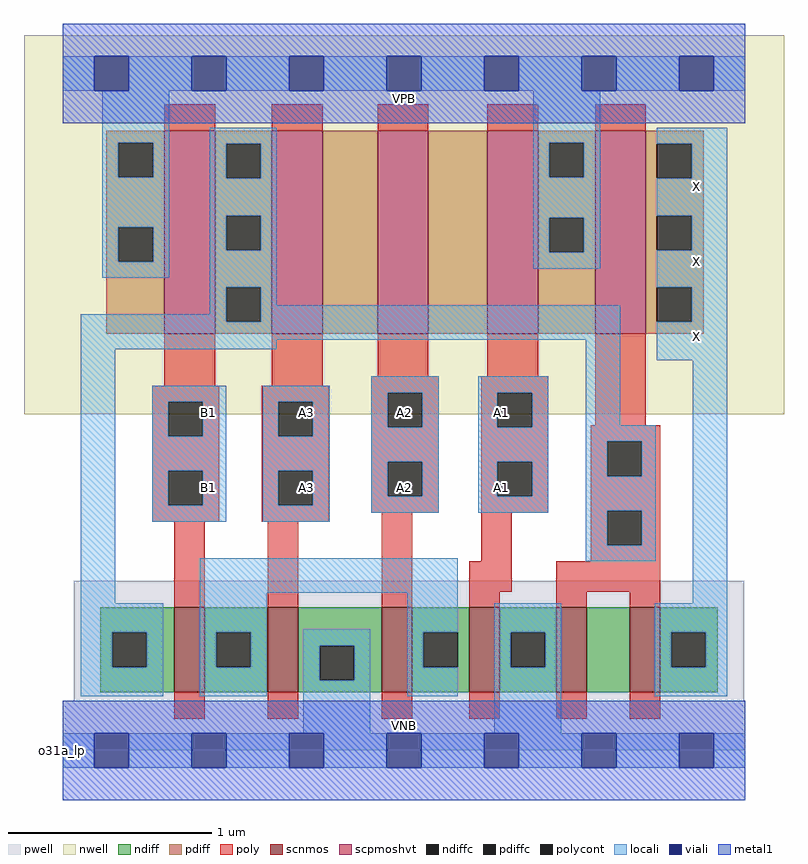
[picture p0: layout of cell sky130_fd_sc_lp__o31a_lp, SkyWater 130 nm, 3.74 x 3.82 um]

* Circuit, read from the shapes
.subckt sky130_fd_sc_lp__o31a_lp A1 A2 A3 B1 VGND VNB VPB VPWR X
XM1 n1 B1 n2 VNB sky130_fd_pr__nfet_01v8 w=0.42 l=0.15
XM2 VGND A3 n1 VNB sky130_fd_pr__nfet_01v8 w=0.42 l=0.15
XM3 n1 A2 VGND VNB sky130_fd_pr__nfet_01v8 w=0.42 l=0.15
XM4 VGND A1 n1 VNB sky130_fd_pr__nfet_01v8 w=0.42 l=0.15
XM5 n3 n2 VGND VNB sky130_fd_pr__nfet_01v8 w=0.42 l=0.15
XM6 X n2 n3 VNB sky130_fd_pr__nfet_01v8 w=0.42 l=0.15
XM7 n2 B1 VPWR VPB sky130_fd_pr__pfet_01v8_hvt w=1 l=0.25
XM8 n4 A3 n2 VPB sky130_fd_pr__pfet_01v8_hvt w=1 l=0.25
XM9 n5 A2 n4 VPB sky130_fd_pr__pfet_01v8_hvt w=1 l=0.25
XM10 VPWR A1 n5 VPB sky130_fd_pr__pfet_01v8_hvt w=1 l=0.25
XM11 X n2 VPWR VPB sky130_fd_pr__pfet_01v8_hvt w=1 l=0.25
.ends

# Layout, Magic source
magic
tech sky130A
magscale 1 2
<< nwell >>
rect -38 331 710 704
<< pwell >>
rect 11 49 671 167
rect 0 0 672 49
<< scnmos >>
rect 110 57 140 141
rect 202 57 232 141
rect 314 57 344 141
rect 400 57 430 141
rect 486 57 516 141
rect 558 57 588 141
<< scpmoshvt >>
rect 100 410 150 610
rect 206 410 256 610
rect 310 410 360 610
rect 418 410 468 610
rect 524 410 574 610
<< ndiff >>
rect 37 116 110 141
rect 37 82 49 116
rect 83 82 110 116
rect 37 57 110 82
rect 140 116 202 141
rect 140 82 151 116
rect 185 82 202 116
rect 140 57 202 82
rect 232 103 314 141
rect 232 69 253 103
rect 287 69 314 103
rect 232 57 314 69
rect 344 116 400 141
rect 344 82 355 116
rect 389 82 400 116
rect 344 57 400 82
rect 430 116 486 141
rect 430 82 441 116
rect 475 82 486 116
rect 430 57 486 82
rect 516 57 558 141
rect 588 116 645 141
rect 588 82 599 116
rect 633 82 645 116
rect 588 57 645 82
<< pdiff >>
rect 43 598 100 610
rect 43 564 55 598
rect 89 564 100 598
rect 43 515 100 564
rect 43 481 55 515
rect 89 481 100 515
rect 43 410 100 481
rect 150 597 206 610
rect 150 563 161 597
rect 195 563 206 597
rect 150 526 206 563
rect 150 492 161 526
rect 195 492 206 526
rect 150 456 206 492
rect 150 422 161 456
rect 195 422 206 456
rect 150 410 206 422
rect 256 410 310 610
rect 360 410 418 610
rect 468 598 524 610
rect 468 564 479 598
rect 513 564 524 598
rect 468 524 524 564
rect 468 490 479 524
rect 513 490 524 524
rect 468 410 524 490
rect 574 597 631 610
rect 574 563 585 597
rect 619 563 631 597
rect 574 526 631 563
rect 574 492 585 526
rect 619 492 631 526
rect 574 456 631 492
rect 574 422 585 456
rect 619 422 631 456
rect 574 410 631 422
<< ndiffc >>
rect 49 82 83 116
rect 151 82 185 116
rect 253 69 287 103
rect 355 82 389 116
rect 441 82 475 116
rect 599 82 633 116
<< pdiffc >>
rect 55 564 89 598
rect 55 481 89 515
rect 161 563 195 597
rect 161 492 195 526
rect 161 422 195 456
rect 479 564 513 598
rect 479 490 513 524
rect 585 563 619 597
rect 585 492 619 526
rect 585 422 619 456
<< poly >>
rect 100 610 150 636
rect 206 610 256 636
rect 310 610 360 636
rect 418 610 468 636
rect 524 610 574 636
rect 100 359 150 410
rect 206 359 256 410
rect 310 368 360 410
rect 418 368 468 410
rect 88 343 154 359
rect 88 309 104 343
rect 138 309 154 343
rect 88 275 154 309
rect 88 241 104 275
rect 138 241 154 275
rect 88 225 154 241
rect 196 343 262 359
rect 196 309 212 343
rect 246 309 262 343
rect 196 275 262 309
rect 196 241 212 275
rect 246 241 262 275
rect 196 225 262 241
rect 304 352 370 368
rect 304 318 320 352
rect 354 318 370 352
rect 304 284 370 318
rect 304 250 320 284
rect 354 250 370 284
rect 304 234 370 250
rect 412 352 478 368
rect 412 318 428 352
rect 462 318 478 352
rect 524 320 574 410
rect 412 284 478 318
rect 412 250 428 284
rect 462 250 478 284
rect 412 234 478 250
rect 520 304 588 320
rect 520 270 536 304
rect 570 270 588 304
rect 520 236 588 270
rect 110 141 140 225
rect 202 141 232 225
rect 314 141 344 234
rect 412 186 442 234
rect 520 202 536 236
rect 570 202 588 236
rect 520 186 588 202
rect 400 156 442 186
rect 486 156 588 186
rect 400 141 430 156
rect 486 141 516 156
rect 558 141 588 156
rect 110 31 140 57
rect 202 31 232 57
rect 314 31 344 57
rect 400 31 430 57
rect 486 31 516 57
rect 558 31 588 57
<< polycont >>
rect 104 309 138 343
rect 104 241 138 275
rect 212 309 246 343
rect 212 241 246 275
rect 320 318 354 352
rect 320 250 354 284
rect 428 318 462 352
rect 428 250 462 284
rect 536 270 570 304
rect 536 202 570 236
<< locali >>
rect 0 649 31 683
rect 65 649 127 683
rect 161 649 223 683
rect 257 649 319 683
rect 353 649 415 683
rect 449 649 511 683
rect 545 649 607 683
rect 641 649 672 683
rect 39 598 105 649
rect 39 564 55 598
rect 89 564 105 598
rect 39 515 105 564
rect 39 481 55 515
rect 89 481 105 515
rect 39 465 105 481
rect 145 597 211 613
rect 145 563 161 597
rect 195 563 211 597
rect 145 526 211 563
rect 145 492 161 526
rect 195 492 211 526
rect 145 456 211 492
rect 463 598 529 649
rect 463 564 479 598
rect 513 564 529 598
rect 463 524 529 564
rect 463 490 479 524
rect 513 490 529 524
rect 463 474 529 490
rect 585 597 654 613
rect 619 563 654 597
rect 585 526 654 563
rect 619 492 654 526
rect 145 429 161 456
rect 18 422 161 429
rect 195 438 211 456
rect 585 456 654 492
rect 195 422 549 438
rect 18 404 549 422
rect 18 395 211 404
rect 18 145 52 395
rect 88 343 161 359
rect 88 309 104 343
rect 138 309 161 343
rect 88 275 161 309
rect 88 241 104 275
rect 138 241 161 275
rect 88 225 161 241
rect 197 343 263 359
rect 197 309 212 343
rect 246 309 263 343
rect 197 275 263 309
rect 197 241 212 275
rect 246 241 263 275
rect 197 225 263 241
rect 304 352 370 368
rect 304 318 320 352
rect 354 318 370 352
rect 304 284 370 318
rect 304 250 320 284
rect 354 250 370 284
rect 304 234 370 250
rect 409 352 478 368
rect 409 318 428 352
rect 462 318 478 352
rect 409 284 478 318
rect 409 250 428 284
rect 462 250 478 284
rect 409 234 478 250
rect 515 320 549 404
rect 619 422 654 456
rect 585 384 654 422
rect 515 304 584 320
rect 515 270 536 304
rect 570 270 584 304
rect 515 236 584 270
rect 515 202 536 236
rect 570 202 584 236
rect 135 155 389 189
rect 515 186 584 202
rect 18 116 99 145
rect 18 82 49 116
rect 83 82 99 116
rect 18 53 99 82
rect 135 116 201 155
rect 135 82 151 116
rect 185 82 201 116
rect 135 53 201 82
rect 237 103 303 119
rect 237 69 253 103
rect 287 69 303 103
rect 237 17 303 69
rect 339 116 389 155
rect 620 145 654 384
rect 339 82 355 116
rect 339 53 389 82
rect 425 116 491 145
rect 425 82 441 116
rect 475 82 491 116
rect 425 17 491 82
rect 583 116 654 145
rect 583 82 599 116
rect 633 82 654 116
rect 583 53 654 82
rect 0 -17 31 17
rect 65 -17 127 17
rect 161 -17 223 17
rect 257 -17 319 17
rect 353 -17 415 17
rect 449 -17 511 17
rect 545 -17 607 17
rect 641 -17 672 17
<< viali >>
rect 31 649 65 683
rect 127 649 161 683
rect 223 649 257 683
rect 319 649 353 683
rect 415 649 449 683
rect 511 649 545 683
rect 607 649 641 683
rect 31 -17 65 17
rect 127 -17 161 17
rect 223 -17 257 17
rect 319 -17 353 17
rect 415 -17 449 17
rect 511 -17 545 17
rect 607 -17 641 17
<< metal1 >>
rect 0 683 672 715
rect 0 649 31 683
rect 65 649 127 683
rect 161 649 223 683
rect 257 649 319 683
rect 353 649 415 683
rect 449 649 511 683
rect 545 649 607 683
rect 641 649 672 683
rect 0 617 672 649
rect 0 17 672 49
rect 0 -17 31 17
rect 65 -17 127 17
rect 161 -17 223 17
rect 257 -17 319 17
rect 353 -17 415 17
rect 449 -17 511 17
rect 545 -17 607 17
rect 641 -17 672 17
rect 0 -49 672 -17
<< labels >>
flabel pwell s 0 0 672 49 0 FreeSans 200 0 0 0 VNB
port 6 nsew ground bidirectional
flabel nwell s 0 617 672 666 0 FreeSans 200 0 0 0 VPB
port 7 nsew power bidirectional
rlabel comment s 0 0 0 0 4 o31a_lp
flabel metal1 s 0 617 672 666 0 FreeSans 340 0 0 0 VPWR
port 8 nsew power bidirectional
flabel metal1 s 0 0 672 49 0 FreeSans 340 0 0 0 VGND
port 5 nsew ground bidirectional
flabel locali s 127 242 161 276 0 FreeSans 340 0 0 0 B1
port 4 nsew signal input
flabel locali s 127 316 161 350 0 FreeSans 340 0 0 0 B1
port 4 nsew signal input
flabel locali s 223 242 257 276 0 FreeSans 340 0 0 0 A3
port 3 nsew signal input
flabel locali s 223 316 257 350 0 FreeSans 340 0 0 0 A3
port 3 nsew signal input
flabel locali s 319 242 353 276 0 FreeSans 340 0 0 0 A2
port 2 nsew signal input
flabel locali s 319 316 353 350 0 FreeSans 340 0 0 0 A2
port 2 nsew signal input
flabel locali s 415 242 449 276 0 FreeSans 340 0 0 0 A1
port 1 nsew signal input
flabel locali s 415 316 449 350 0 FreeSans 340 0 0 0 A1
port 1 nsew signal input
flabel locali s 607 390 641 424 0 FreeSans 340 0 0 0 X
port 9 nsew signal output
flabel locali s 607 464 641 498 0 FreeSans 340 0 0 0 X
port 9 nsew signal output
flabel locali s 607 538 641 572 0 FreeSans 340 0 0 0 X
port 9 nsew signal output
<< properties >>
string LEFsite unit
string LEFclass CORE
string FIXED_BBOX 0 0 672 666
string GDS_FILE $PDKPATH/libs.ref/sky130_fd_sc_lp/gds/sky130_fd_sc_lp.gds
string LEFsymmetry X Y R90
string GDS_END 1236880
string GDS_START 1229896
<< end >>
